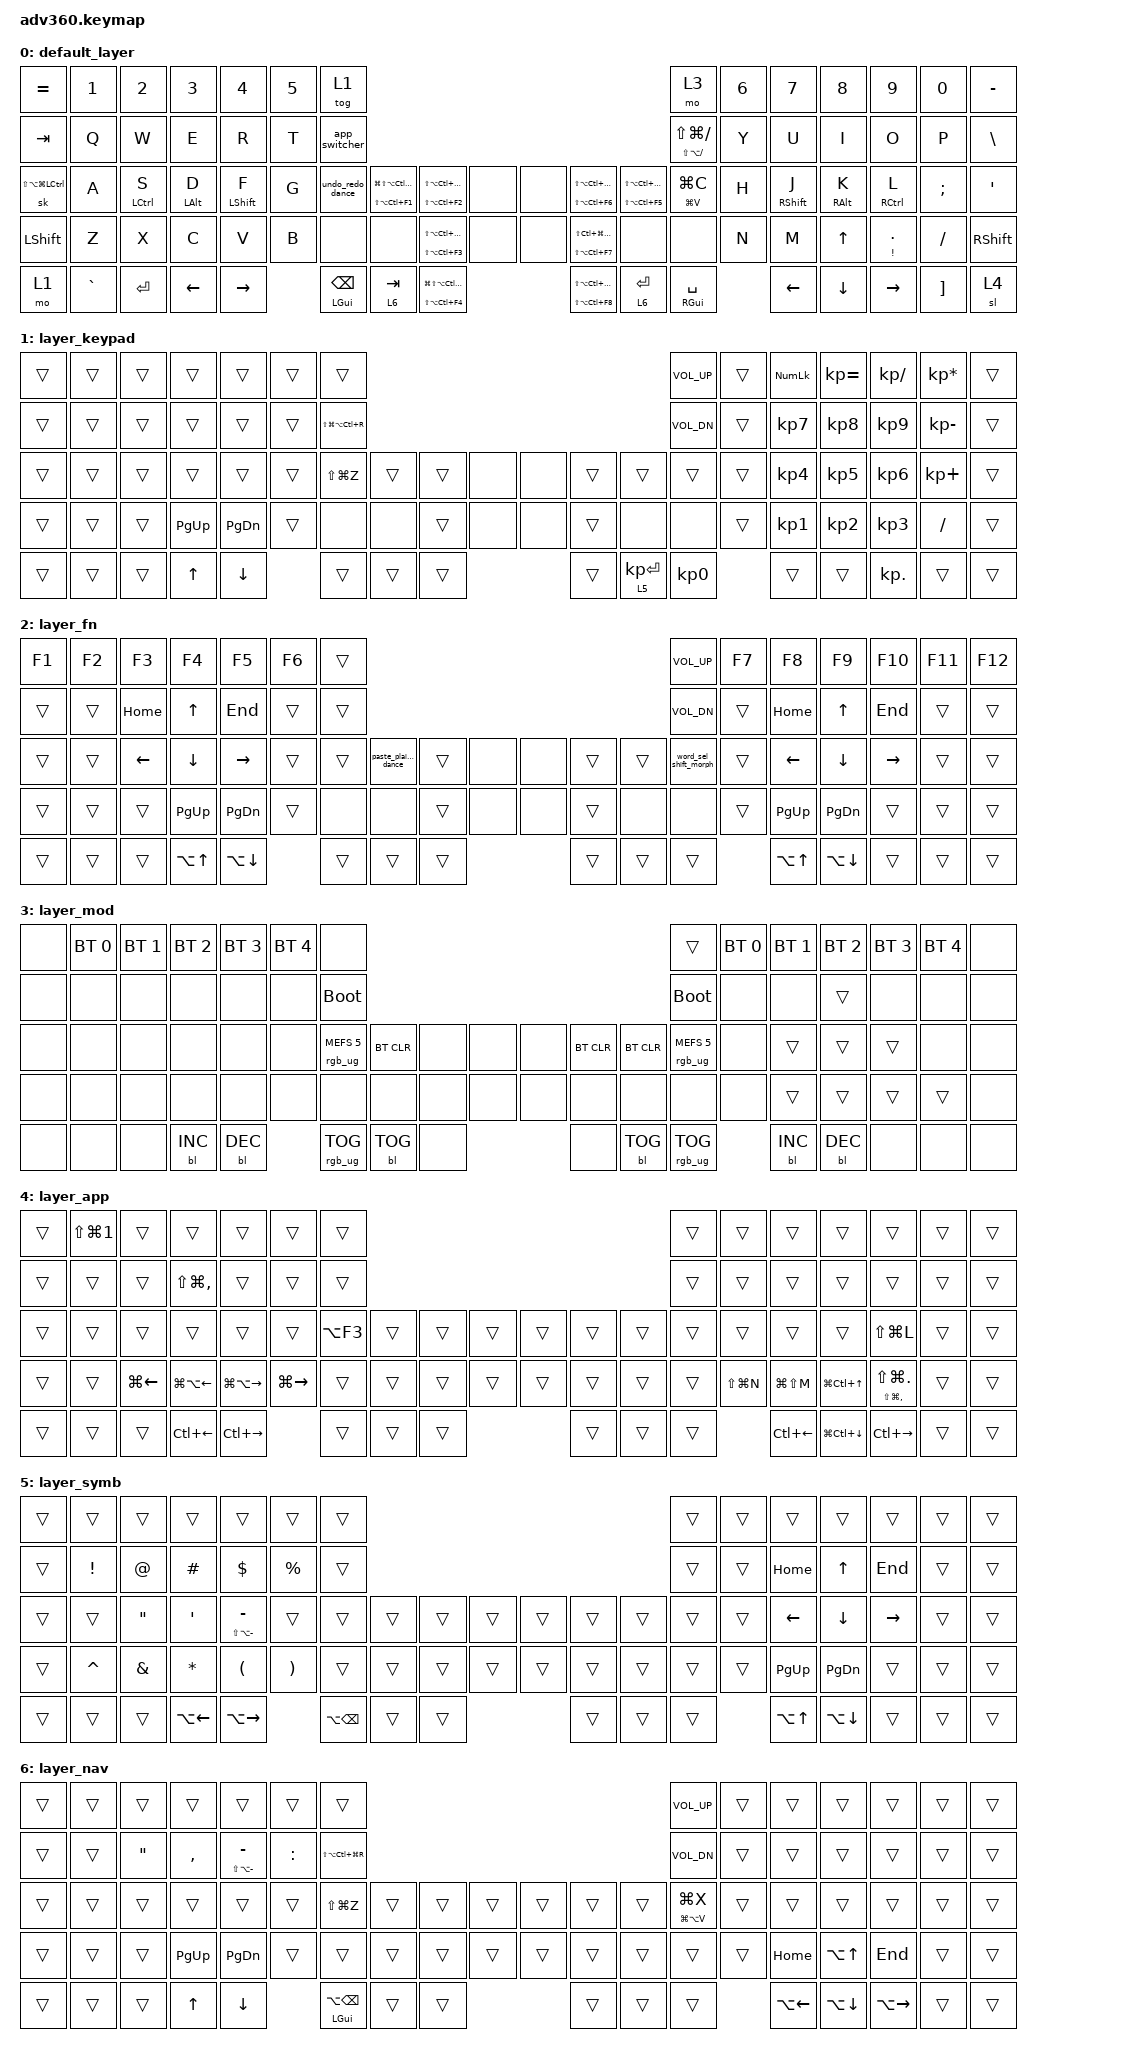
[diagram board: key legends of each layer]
/*
 * Copyright (c) 2020 The ZMK Contributors
 *
 * SPDX-License-Identifier: MIT
 */
/* THIS FILE WAS GENERATED!
 *
 * This file was generated automatically. You may or may not want to
 * edit it directly.
 */

#include <behaviors.dtsi>
#include <dt-bindings/zmk/backlight.h>
#include <dt-bindings/zmk/bt.h>
#include <dt-bindings/zmk/keys.h>
#include <dt-bindings/zmk/rgb.h>

/ {
    behaviors {
        #include "macros.dtsi"

        hm: homerow_mods {
            compatible = "zmk,behavior-hold-tap";
            label = "HOMEROW_MODS";
            #binding-cells = <2>;
            tapping-term-ms = <200>;
            quick_tap_ms = <175>;
            flavor = "balanced";
            bindings = <&kp>, <&kp>;

            quick-tap-ms = <175>;
            global-quick-tap;
        };

        mod_sticky: mod_sticky {
            compatible = "zmk,behavior-hold-tap";
            label = "MOD_STICKY";
            bindings = <&kp>, <&sk>;

            #binding-cells = <2>;
            tapping-term-ms = <200>;
            flavor = "balanced";
        };

        layertap_stickylayer: layertap_stickylayer {
            compatible = "zmk,behavior-hold-tap";
            label = "LAYERTAP_STICKYLAYER";
            bindings = <&mo>, <&sl>;

            #binding-cells = <2>;
            tapping-term-ms = <200>;
        };

        stickytap_layerhold: stickytap_layerhold {
            compatible = "zmk,behavior-hold-tap";
            label = "STICKYTAP_LAYERHOLD";
            bindings = <&mo>, <&sk>;

            #binding-cells = <2>;
            tapping-term-ms = <200>;
            flavor = "hold-preferred";
            quick-tap-ms = <175>;
        };

        kphold_stickylayer: kphold_stickylayer {
            compatible = "zmk,behavior-hold-tap";
            label = "KPHOLD_STICKYLAYER";
            bindings = <&kp>, <&sl>;

            #binding-cells = <2>;
            flavor = "tap-preferred";
            tapping-term-ms = <200>;
        };

        hyphen_dash: hyphen_dash {
            compatible = "zmk,behavior-tap-dance";
            label = "HYPHEN_DASH";
            #binding-cells = <0>;
            bindings = <&kp MINUS>, <&kp LA(LS(MINUS))>;
        };

        undo_redo_dance: undo_redo_dance {
            compatible = "zmk,behavior-tap-dance";
            label = "UNDO_REDO_DANCE";
            #binding-cells = <0>;
            bindings = <&kp LG(Z)>, <&kp LS(LG(Z))>;
        };

        word_sel_shift_morph: word_sel_shift_morph {
            compatible = "zmk,behavior-mod-morph";
            label = "WORD_SEL_SHIFT_MORPH";
            bindings = <&kp LA(LS(LEFT))>, <&kp LS(LA(RIGHT))>;

            #binding-cells = <0>;
            mods = <(MOD_LSFT|MOD_RSFT)>;
            keep-mods = <(MOD_LSFT)>;
        };

        hm_layer: hm_layer {
            compatible = "zmk,behavior-hold-tap";
            label = "HM_LAYER";
            bindings = <&mo>, <&kp>;

            #binding-cells = <2>;
            flavor = "hold-preferred";
            tapping-term-ms = <200>;
            quick-tap-ms = <175>;
        };

        paste_plainpaste_dance: paste_plainpaste_dance {
            compatible = "zmk,behavior-tap-dance";
            label = "PASTE_PLAINPASTE_DANCE";
            #binding-cells = <0>;
            bindings = <&hm LG(LS(V)) LG(V)>, <&kp LG(LA(V))>;
        };

        hm_gui: hm_gui {
            compatible = "zmk,behavior-hold-tap";
            label = "HM_GUI";
            bindings = <&kp>, <&kp>;

            #binding-cells = <2>;
            tapping-term-ms = <300>;
            quick-tap-ms = <210>;
            global-quick-tap;
            flavor = "balanced";
        };

        l_index_shift: l_index_shift {
            compatible = "zmk,behavior-hold-tap";
            label = "L_INDEX_SHIFT";
            bindings = <&kp>, <&kp>;

            #binding-cells = <2>;
            tapping-term-ms = <300>;
            quick-tap-ms = <210>;
            flavor = "hold-preferred";
            hold-trigger-key-positions = <22 42 62 23 43 63 24 44 64 25 45 65 26 46 66 13 27 47 67 83 82 81 80 79 39 40 78 77 59 76 7 8 9 10 11 12 21 22 23 24 25 26 41 42 43 44 45 46>;
        };

        r_index_shift: r_index_shift {
            compatible = "zmk,behavior-hold-tap";
            label = "R_INDEX_SHIFT";
            bindings = <&kp>, <&kp>;

            #binding-cells = <2>;
            tapping-term-ms = <300>;
            quick-tap-ms = <210>;
            flavor = "hold-preferred";
            hold-trigger-key-positions = <0 1 2 3 4 5 6 14 15 16 17 18 19 20 28 29 30 31 32 33 34 35 36 37 48 49 50 51 52 53 54 55 56 57 68 69 70 71 72 73 74 75>;
        };

        thumb_shift: thumb_shift {
            compatible = "zmk,behavior-hold-tap";
            label = "THUMB_SHIFT";
            bindings = <&kp>, <&kp>;

            #binding-cells = <2>;
            tapping-term-ms = <300>;
            quick-tap-ms = <210>;
        };

        hm_left: hm_left {
            compatible = "zmk,behavior-hold-tap";
            label = "HM_LEFT";
            bindings = <&kp>, <&kp>;

            #binding-cells = <2>;
            tapping-term-ms = <300>;
            quick-tap-ms = <210>;
            flavor = "balanced";
            global-quick-tap;
            hold-trigger-key-positions = <7 8 9 10 11 12 13 21 22 23 24 25 26 27 38 40 41 42 43 44 45 46 47 58 60 61 62 63 64 65 66 67 77 78 79 80 81 82 83 76 59 39>;
        };

        hm_right: hm_right {
            compatible = "zmk,behavior-hold-tap";
            label = "HM_RIGHT";
            bindings = <&kp>, <&kp>;

            #binding-cells = <2>;
            tapping-term-ms = <300>;
            quick-tap-ms = <210>;
            global-quick-tap;
            flavor = "balanced";
            hold-trigger-key-positions = <0 1 2 3 4 5 6 14 15 16 17 18 19 20 28 29 30 31 32 33 34 35 36 37 48 49 50 51 52 53 54 55 56 57 68 69 70 71 72 73 74 75>;
        };
    };

    combos {
        compatible = "zmk,combos";

        lthumb_layer2 {
            bindings = <&hm_layer 4 ESC>;
            key-positions = <73 74>;
            layers = <0 1 2 6 5 4 3>;
        };

        rthumb_hyper {
            bindings = <&hm LS(LA(LC(LGUI))) ESC>;
            key-positions = <77 78>;
            layers = <0 1 6 3 4 5 2>;
        };

        twoshft_caps {
            bindings = <&kp CAPS>;
            key-positions = <32 43>;
        };

        moot_combo {
            bindings = <&kp LS(LA(LC(LG(F11))))>;
            key-positions = <7 21>;
        };

        onepass_combo {
            bindings = <&hm_gui LS(LG(NUMBER_1)) LG(GRAVE)>;
            key-positions = <74 77>;
        };

        shift_alt_right {
            bindings = <&kp RA(RSHFT)>;
            key-positions = <43 44>;
        };

        shift_alt_left {
            bindings = <&kp LA(LSHFT)>;
            key-positions = <32 31>;
        };

        cmd_shift_left {
            bindings = <&kp LS(LGUI)>;
            key-positions = <73 32>;
        };

        cmd_shift_right {
            bindings = <&kp RS(RGUI)>;
            key-positions = <78 43>;
        };

        alt_ctrl_left {
            bindings = <&kp LC(LALT)>;
            key-positions = <31 30>;
        };

        alt_ctrl_right {
            bindings = <&kp RA(RCTRL)>;
            key-positions = <44 45>;
        };

        shft_ctrl_left {
            bindings = <&kp LC(LSHFT)>;
            key-positions = <32 30>;
        };

        shft_ctrl_right {
            bindings = <&kp RC(RSHFT)>;
            key-positions = <43 45>;
        };

        shft_alt_ctrl_left {
            bindings = <&kp LA(LC(LSHFT))>;
            key-positions = <32 31 30>;
        };

        shft_alt_ctrl_right {
            bindings = <&kp RA(RC(RSHFT))>;
            key-positions = <43 44 45>;
        };

        cmd_alt_left {
            bindings = <&kp LA(LGUI)>;
            key-positions = <73 31>;
        };

        cmd_alt_right {
            bindings = <&kp RA(RGUI)>;
            key-positions = <78 44>;
        };

        cmd_ctrl_left {
            bindings = <&kp LC(LGUI)>;
            key-positions = <73 30>;
        };

        cmd_ctrl_right {
            bindings = <&kp RC(RGUI)>;
            key-positions = <78 45>;
        };

        cmd_shft_alt_left {
            bindings = <&kp LS(LA(LGUI))>;
            key-positions = <73 32 31>;
        };

        cmd_shft_alt_right {
            bindings = <&kp RS(RA(RGUI))>;
            key-positions = <78 43 44>;
        };

        cmd_shft_ctrl_left {
            bindings = <&kp LC(LS(LGUI))>;
            key-positions = <73 32 30>;
        };

        cmd_shft_ctrl_right {
            bindings = <&kp RS(RC(RGUI))>;
            key-positions = <78 43 45>;
        };

        cmd_alt_ctrl_left {
            bindings = <&kp LA(LC(LGUI))>;
            key-positions = <73 31 30>;
        };

        cmd_alt_ctrl_right {
            bindings = <&kp RA(RC(RGUI))>;
            key-positions = <78 45 44>;
        };

        hyper_left {
            bindings = <&kp LS(LA(LC(LGUI)))>;
            key-positions = <73 32 31 30>;
        };

        hyper_right {
            bindings = <&kp RS(RA(RC(RGUI)))>;
            key-positions = <78 43 44 45>;
        };

        nav_combo {
            bindings = <&to 6>;
            key-positions = <23 24 25>;
            layers = <0 1>;
        };

        num_combo {
            bindings = <&to 1>;
            key-positions = <63 64 65>;
            layers = <0 6>;
        };

        nav2default_combo {
            bindings = <&to 0>;
            key-positions = <23 24 25>;
            layers = <6>;
        };

        num2default_combo {
            bindings = <&to 0>;
            key-positions = <63 64 65>;
            layers = <1>;
        };

        comma_combo {
            bindings = <&kp COMMA>;
            key-positions = <63 64>;
        };

        left_space_combo {
            bindings = <&kp SPACE>;
            key-positions = <18 16>;
        };
    };

    macros {
        word_selector: word_selector {
            compatible = "zmk,behavior-macro";
            label = "WORD_SELECTOR";
            #binding-cells = <0>;
            bindings = <&kp LA(LEFT) &kp LA(RIGHT) &kp LS(LA(LEFT))>;
        };

        app_switcher: app_switcher {
            compatible = "zmk,behavior-macro";
            label = "APP_SWITCHER";
            #binding-cells = <0>;
            bindings =
                <&macro_press>,
                <&kp LGUI>,
                <&macro_tap>,
                <&kp TAB>,
                <&macro_pause_for_release>,
                <&macro_release>,
                <&kp LGUI>;
        };
    };

    keymap {
        compatible = "zmk,keymap";

        default_layer {
            bindings = <
&kp EQUAL              &kp N1     &kp N2            &kp N3           &kp N4                  &kp N5  &tog 1                                                                                                                                                                                                       &mo 3                            &kp N6  &kp N7                  &kp N8            &kp N9                  &kp N0         &kp MINUS
&kp TAB                &kp Q      &kp W             &kp E            &kp R                   &kp T   &app_switcher                                                                                                                                                                                                &hm LS(LA(SLASH)) LS(LG(SLASH))  &kp Y   &kp U                   &kp I             &kp O                   &kp P          &kp BSLH
&sk LS(LA(LG(LCTRL)))  &kp A      &hm_left LCTRL S  &hm_left LALT D  &l_index_shift LSHFT F  &kp G   &undo_redo_dance   &hm_gui LS(LA(LC(F1))) LG(LS(LA(LC(F1))))  &hm_gui LS(LA(LC(F2))) LS(LA(LC(LG(F2))))  &none  &none  &hm_gui LS(LA(LC(F6))) LS(LA(LC(LG(F6))))  &hm_gui LS(LA(LC(F5))) LS(LA(LC(LG(F5))))  &hm LG(V) LG(C)                  &kp H   &r_index_shift RSHFT J  &hm_right RALT K  &hm_right RCTRL L       &kp SEMICOLON  &kp SQT
&kp LSHFT              &kp Z      &kp X             &kp C            &kp V                   &kp B   &none              &none                                      &hm_gui LS(LA(LC(F3))) LS(LA(LC(LG(F3))))  &none  &none  &hm_gui LS(LA(LC(F7))) LS(LC(LG(LA(F7))))  &none                                      &none                            &kp N   &kp M                   &kp UP            &hm EXCLAMATION PERIOD  &kp SLASH      &kp RSHFT
&mo 1                  &kp GRAVE  &kp ENTER         &kp LEFT         &kp RIGHT                       &hm_gui LGUI BSPC  &hm_layer 6 TAB                            &hm_gui LS(LA(LC(F4))) LG(LS(LA(LC(F4))))                &hm_gui LS(LA(LC(F8))) LS(LA(LC(LG(F8))))  &hm_layer 6 ENTER                          &hm_gui RGUI SPACE                       &kp LEFT                &kp DOWN          &kp RIGHT               &kp RBKT       &sl 4
            >;
        };

        layer_keypad {
            bindings = <
&trans  &trans  &trans  &trans     &trans     &trans  &trans                                                                             &kp C_VOLUME_UP  &trans  &kp KP_NUM  &kp KP_EQUAL  &kp KP_DIVIDE  &kp KP_MULTIPLY  &trans
&trans  &trans  &trans  &trans     &trans     &trans  &kp LS(LG(LA(LC(R))))                                                              &kp C_VOL_DN     &trans  &kp KP_N7   &kp KP_N8     &kp KP_N9      &kp KP_MINUS     &trans
&trans  &trans  &trans  &trans     &trans     &trans  &kp LS(LG(Z))          &trans  &trans  &none  &none  &trans  &trans                &trans           &trans  &kp KP_N4   &kp KP_N5     &kp KP_N6      &kp KP_PLUS      &trans
&trans  &trans  &trans  &kp PG_UP  &kp PG_DN  &trans  &none                  &none   &trans  &none  &none  &trans  &none                 &none            &trans  &kp KP_N1   &kp KP_N2     &kp KP_N3      &kp SLASH        &trans
&trans  &trans  &trans  &kp UP     &kp DOWN           &trans                 &trans  &trans                &trans  &hm_layer 5 KP_ENTER  &kp KP_N0                &trans      &trans        &kp KP_DOT     &trans           &trans
            >;
        };

        layer_fn {
            bindings = <
&kp F1  &kp F2  &kp F3    &kp F4       &kp F5         &kp F6  &trans                                                                 &kp C_VOLUME_UP        &kp F7  &kp F8       &kp F9         &kp F10    &kp F11  &kp F12
&trans  &trans  &kp HOME  &kp UP       &kp END        &trans  &trans                                                                 &kp C_VOL_DN           &trans  &kp HOME     &kp UP         &kp END    &trans   &trans
&trans  &trans  &kp LEFT  &kp DOWN     &kp RIGHT      &trans  &trans  &paste_plainpaste_dance  &trans  &none  &none  &trans  &trans  &word_sel_shift_morph  &trans  &kp LEFT     &kp DOWN       &kp RIGHT  &trans   &trans
&trans  &trans  &trans    &kp PAGE_UP  &kp PAGE_DOWN  &trans  &none   &none                    &trans  &none  &none  &trans  &none   &none                  &trans  &kp PAGE_UP  &kp PAGE_DOWN  &trans     &trans   &trans
&trans  &trans  &trans    &kp LA(UP)   &kp LA(DOWN)           &trans  &trans                   &trans                &trans  &trans  &trans                         &kp LA(UP)   &kp LA(DOWN)   &trans     &trans   &trans
            >;
        };

        layer_mod {
            bindings = <
&none  &bt BT_SEL 0  &bt BT_SEL 1  &bt BT_SEL 2  &bt BT_SEL 3  &bt BT_SEL 4  &none                                                                            &trans                  &bt BT_SEL 0  &bt BT_SEL 1  &bt BT_SEL 2  &bt BT_SEL 3  &bt BT_SEL 4  &none
&none  &none         &none         &none         &none         &none         &bootloader                                                                      &bootloader             &none         &none         &trans        &none         &none         &none
&none  &none         &none         &none         &none         &none         &rgb_ug RGB_MEFS_CMD 5  &bt BT_CLR  &none  &none  &none  &bt BT_CLR  &bt BT_CLR  &rgb_ug RGB_MEFS_CMD 5  &none         &trans        &trans        &trans        &none         &none
&none  &none         &none         &none         &none         &none         &none                   &none       &none  &none  &none  &none       &none       &none                   &none         &trans        &trans        &trans        &trans        &none
&none  &none         &none         &bl BL_INC    &bl BL_DEC                  &rgb_ug RGB_TOG         &bl BL_TOG  &none                &none       &bl BL_TOG  &rgb_ug RGB_TOG                       &bl BL_INC    &bl BL_DEC    &none         &none         &none
            >;
        };

        layer_app {
            bindings = <
&trans  &kp LS(LG(NUMBER_1))  &trans        &trans                  &trans             &trans         &trans                                                      &trans  &trans         &trans         &trans            &trans                                     &trans  &trans
&trans  &trans                &trans        &kp LS(LG(COMMA))       &trans             &trans         &trans                                                      &trans  &trans         &trans         &trans            &trans                                     &trans  &trans
&trans  &trans                &trans        &trans                  &trans             &trans         &kp LA(F3)  &trans  &trans  &trans  &trans  &trans  &trans  &trans  &trans         &trans         &trans            &kp LS(LG(L))                              &trans  &trans
&trans  &trans                &kp LG(LEFT)  &kp LG(LA(LEFT_ARROW))  &kp LG(LA(RIGHT))  &kp LG(RIGHT)  &trans      &trans  &trans  &trans  &trans  &trans  &trans  &trans  &kp LS(LG(N))  &kp LG(LS(M))  &kp LG(LC(UP))    &thumb_shift LS(LG(COMMA)) LS(LG(PERIOD))  &trans  &trans
&trans  &trans                &trans        &kp LC(LEFT)            &kp LC(RIGHT)                     &trans      &trans  &trans                  &trans  &trans  &trans                 &kp LC(LEFT)   &kp LG(LC(DOWN))  &kp LC(RIGHT)                              &trans  &trans
            >;
        };

        layer_symb {
            bindings = <
&trans  &trans           &trans             &trans        &trans                   &trans                 &trans                                                        &trans  &trans  &trans       &trans         &trans     &trans  &trans
&trans  &kp EXCLAMATION  &kp AT_SIGN        &kp HASH      &kp DOLLAR               &kp PERCENT            &trans                                                        &trans  &trans  &kp HOME     &kp UP         &kp END    &trans  &trans
&trans  &trans           &kp DOUBLE_QUOTES  &kp SQT       &hm LS(LA(MINUS)) MINUS  &trans                 &trans        &trans  &trans  &trans  &trans  &trans  &trans  &trans  &trans  &kp LEFT     &kp DOWN       &kp RIGHT  &trans  &trans
&trans  &kp CARET        &kp AMPERSAND      &kp ASTERISK  &kp LEFT_PARENTHESIS     &kp RIGHT_PARENTHESIS  &trans        &trans  &trans  &trans  &trans  &trans  &trans  &trans  &trans  &kp PAGE_UP  &kp PAGE_DOWN  &trans     &trans  &trans
&trans  &trans           &trans             &kp LA(LEFT)  &kp LA(RIGHT)                                   &kp LA(BSPC)  &trans  &trans                  &trans  &trans  &trans          &kp LA(UP)   &kp LA(DOWN)   &trans     &trans  &trans
            >;
        };

        layer_nav {
            bindings = <
&trans  &trans  &trans             &trans        &trans                   &trans     &trans                                                                 &kp C_VOLUME_UP      &trans  &trans        &trans        &trans         &trans  &trans
&trans  &trans  &kp DOUBLE_QUOTES  &kp COMMA     &hm LS(LA(MINUS)) MINUS  &kp COLON  &kp LS(LA(LC(LG(R))))                                                  &kp C_VOL_DN         &trans  &trans        &trans        &trans         &trans  &trans
&trans  &trans  &trans             &trans        &trans                   &trans     &kp LS(LG(Z))          &trans  &trans  &trans  &trans  &trans  &trans  &hm LG(LA(V)) LG(X)  &trans  &trans        &trans        &trans         &trans  &trans
&trans  &trans  &trans             &kp PG_UP     &kp PAGE_DOWN            &trans     &trans                 &trans  &trans  &trans  &trans  &trans  &trans  &trans               &trans  &kp HOME      &kp LA(UP)    &kp END        &trans  &trans
&trans  &trans  &trans             &kp UP_ARROW  &kp DOWN                            &hm_gui LGUI LA(BSPC)  &trans  &trans                  &trans  &trans  &trans                       &kp LA(LEFT)  &kp LA(DOWN)  &kp LA(RIGHT)  &trans  &trans
            >;
        };
    };
};
